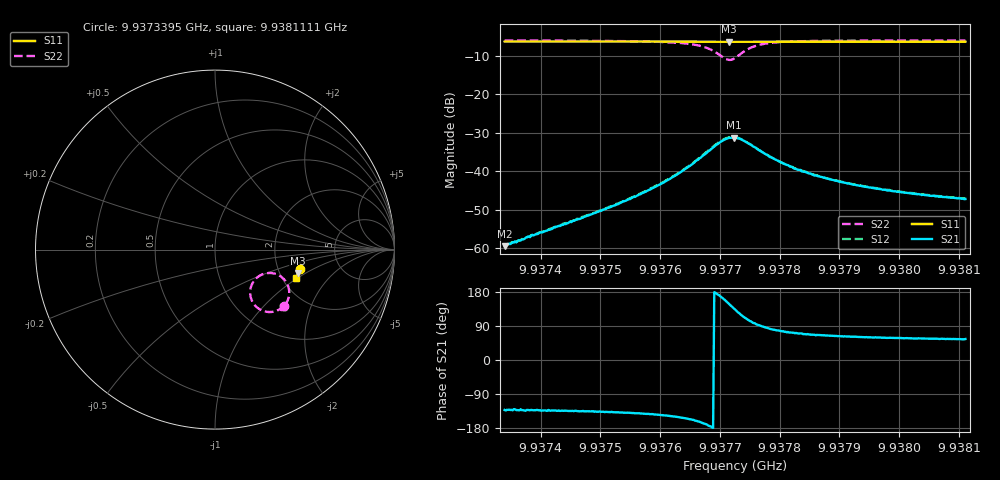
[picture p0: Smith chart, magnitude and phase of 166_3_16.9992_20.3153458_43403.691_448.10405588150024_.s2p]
#  HZ  S  RI  R  50.00
! Rohde & Schwarz Vector Network Analyzer
! Rohde-Schwarz,ZNB20-2Port,1311601062101988,3.16
! Created: UTC 3/20/2024, 10:59:28 PM
! freq[Hz]  re:S11  im:S11  re:S21  im:S21  re:S12  im:S12  re:S22  im:S22
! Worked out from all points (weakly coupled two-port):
!   401 points, 9.9373395 GHz to 9.9381111 GHz, reference 50 ohm
!   highest |S21| = -31.27 dB at 9.9377234 GHz (marker M1); lowest = -59.5 dB at 9.9373395 GHz (marker M2)
!   lowest |S11| = -6.4 dB at 9.9377157 GHz (marker M3), VSWR 2.83, Z = 125 - j42.8 ohm
!   |S11| at or under -10 dB: nowhere
!   |S22| runs from -11.1 to -6.0 dB; largest |S21 - S12| = 0.0013
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9.93733952e9  0.4709 -0.109  -0.00071 -0.000792  -0.000722 -0.000842  0.3861 -0.3134
9.93736267e9  0.4703 -0.1107  -0.000855 -0.000935  -0.000856 -0.000917  0.3841 -0.3155
9.93737424e9  0.47 -0.1112  -0.000942 -0.000972  -0.000935 -0.000996  0.383 -0.3166
9.93746876e9  0.4681 -0.1177  -0.00175 -0.00174  -0.00181 -0.00177  0.3708 -0.3262
9.93754013e9  0.4664 -0.1226  -0.00308 -0.00267  -0.00315 -0.00266  0.3554 -0.3353
9.937598e9  0.4649 -0.1266  -0.00541 -0.00386  -0.00559 -0.0038  0.3324 -0.3444
9.93763851e9  0.4635 -0.1295  -0.0091 -0.00466  -0.00934 -0.00461  0.2999 -0.3479
9.93767515e9  0.462 -0.132  -0.0163 -0.0033  -0.0169 -0.00288  0.2411 -0.3274
9.93768866e9  0.4609 -0.1326  -0.0204 -0.000292  -0.0209 0.000242  0.2131 -0.2976
9.93770023e9  0.4604 -0.1327  -0.0233 0.00468  -0.0238 0.00545  0.1969 -0.2532
9.93771566e9  0.4597 -0.1325  -0.0229 0.0146  -0.0228 0.0157  0.2165 -0.1754
9.93772338e9  0.4599 -0.1326  -0.0197 0.019  -0.0191 0.02  0.249 -0.1456
9.93772531e9  0.4599 -0.1324  -0.0187 0.0198  -0.0181 0.0209  0.2587 -0.1404
9.93773495e9  0.4603 -0.1327  -0.0128 0.0226  -0.0123 0.0232  0.3076 -0.1301
9.93774845e9  0.461 -0.1334  -0.00591 0.022  -0.00511 0.0223  0.3615 -0.1463
9.93776967e9  0.4612 -0.1351  0.000226 0.0179  0.000735 0.018  0.4014 -0.1888
9.93780439e9  0.4608 -0.138  0.00317 0.0124  0.00334 0.0124  0.4137 -0.2379
9.93782754e9  0.4603 -0.1396  0.0034 0.0101  0.00375 0.01  0.4122 -0.257
9.93785454e9  0.4598 -0.1417  0.00354 0.00837  0.00369 0.00824  0.4089 -0.2724
9.93790277e9  0.4585 -0.145  0.00333 0.00644  0.00349 0.00642  0.402 -0.2894
9.93798378e9  0.4565 -0.1504  0.00293 0.00481  0.00308 0.00481  0.3927 -0.3059
9.93811109e9  0.4533 -0.1587  0.00248 0.00358  0.00259 0.0036  0.3814 -0.3209
